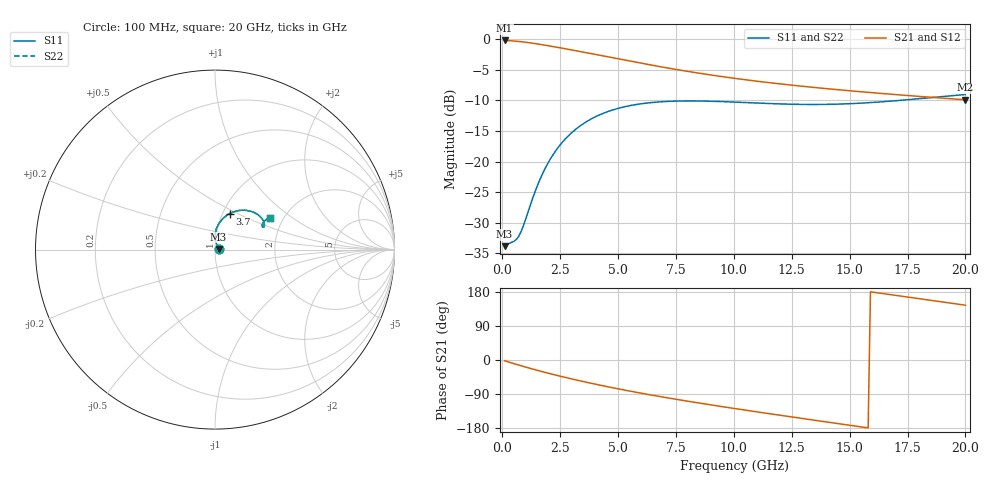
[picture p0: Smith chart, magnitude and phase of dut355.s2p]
! Touchstone file exported from HFSS 2024.1.0
!  File:  C:/UserFiles/LocalFiles/RDL_TSV_Batchsim/temp_RDL_TSV_355_1779638718.aedt
!  Generated:  12:23:45 AM May 25, 2026
!  Design:  RDL_TSV
!  Project:  temp_RDL_TSV_355_1779638718
!  Setup:  Setup1
!  Solution:  Sweep
! Variables:
!  dtsv = 13.84um
!  hbump = 3um
!  htsv = 58.15um
!  ldown = 291.53um
!  lrdl = 573.93um
!  p = 40
!  p1 = 51.12um
!  rhole = 10um
!  subl = 3170.31um
!  t = 450um
!  tdown = 2.77um
!  trdl = 3.33um
!  viad = 10um
!  wdown = 13.23um
!  wrdl = 20.79um
!  xbump = 18um
# GHz S MA R 50.000000
! Terminal data exported
! Port[1] = TM1_1_T1
! Port[2] = TM1_4_T1
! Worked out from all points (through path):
!   200 points, 100 MHz to 20 GHz, reference 50 ohm
!   highest |S21| = -0.18 dB at 100 MHz (marker M1); lowest = -9.9 dB at 20 GHz (marker M2)
!   group delay of S21, straight-line fit = 28.1 ps
!   lowest |S11| = -33.8 dB at 100 MHz (marker M3), VSWR 1.04, Z = 52.1 + j0.305 ohm
!   |S11| at or under -10 dB: start of sweep to 17.13 GHz
!   |S22| runs from -33.8 to -9.0 dB; largest |S21 - S12| = 3.3e-14
!   S11 on the Smith chart (normalised r, x): 100 MHz: 1.04, +0.01; 3.7 GHz: 1.08, +0.45; 20 GHz: 1.71, +0.69
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0.1  0.02033 8.3  0.9793 -2.0  0.9793 -2.0  0.02033 8.3
! Gamma 0 0 0 0
! Port Impedance 50 0 50 0
0.5  0.02227 36.6  0.9696 -9.5  0.9696 -9.5  0.02227 36.6
0.7  0.02433 53.5  0.9618 -13.2  0.9618 -13.2  0.02433 53.4
0.9  0.02948 69.4  0.9526 -16.8  0.9526 -16.8  0.02948 69.3
1.3  0.04935 86.4  0.9306 -23.8  0.9306 -23.8  0.04932 86.4
1.6  0.06947 89.5  0.912 -28.7  0.912 -28.7  0.06942 89.5
1.9  0.09162 88.8  0.8926 -33.6  0.8926 -33.6  0.09156 88.8
2.2  0.1144 86.3  0.8726 -38.2  0.8726 -38.2  0.1144 86.3
2.8  0.1588 79.3  0.8323 -47.1  0.8323 -47.1  0.1587 79.3
3.5  0.2043 70.4  0.7859 -56.9  0.7859 -56.9  0.2042 70.4
3.7  0.2158 68.0  0.7729 -59.6  0.7729 -59.6  0.2156 68.0
4.4  0.25 59.9  0.7288 -68.7  0.7288 -68.7  0.2498 59.9
5.1  0.2755 52.7  0.687 -77.3  0.687 -77.3  0.2753 52.7
5.9  0.2954 45.7  0.6429 -86.5  0.6429 -86.5  0.2951 45.7
6.8  0.308 39.2  0.5984 -96.4  0.5984 -96.4  0.3078 39.2
8.4  0.3133 30.9  0.5322 -112.6  0.5322 -112.6  0.313 30.9
10.1  0.3064 26.1  0.4779 -128.7  0.4779 -128.7  0.306 26.0
11.7  0.2976 24.7  0.4384 -143.2  0.4384 -143.2  0.2972 24.6
13.4  0.2932 25.6  0.4051 -158.2  0.4051 -158.2  0.2927 25.6
15  0.2975 27.6  0.3797 -172.2  0.3797 -172.2  0.297 27.6
16.7  0.3115 29.6  0.3568 173.0  0.3568 173.0  0.3109 29.5
20  0.3539 29.9  0.3204 144.6  0.3204 144.6  0.3533 29.9
